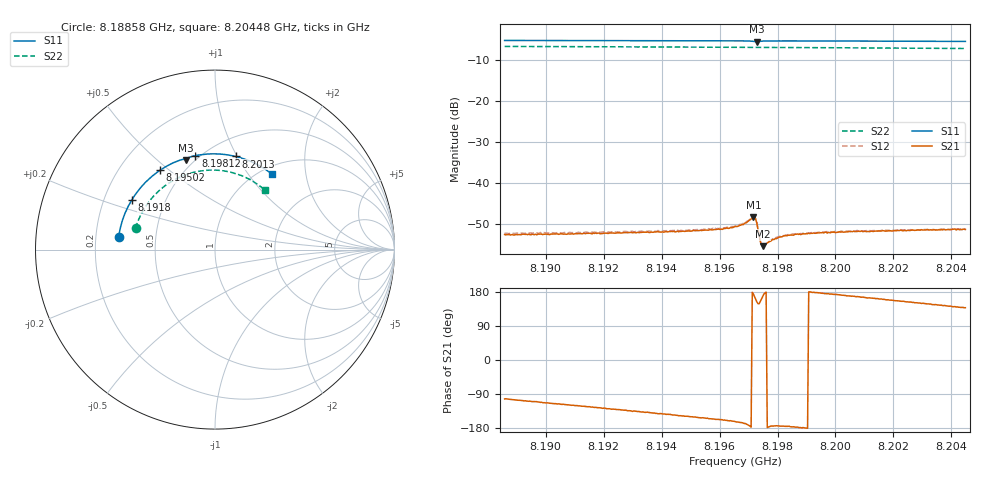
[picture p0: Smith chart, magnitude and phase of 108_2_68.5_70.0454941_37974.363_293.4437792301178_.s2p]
#  HZ  S  RI  R  50.00
! Rohde & Schwarz Vector Network Analyzer
! Rohde-Schwarz,ZNB20-2Port,1311601062101988,3.16
! Created: UTC 3/20/2024, 5:08:35 PM
! freq[Hz]  re:S11  im:S11  re:S21  im:S21  re:S12  im:S12  re:S22  im:S22
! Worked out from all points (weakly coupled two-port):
!   401 points, 8.18858 GHz to 8.20448 GHz, reference 50 ohm
!   highest |S21| = -48.30 dB at 8.19717 GHz (marker M1); lowest = -55.3 dB at 8.19749 GHz (marker M2)
!   lowest |S11| = -5.6 dB at 8.19729 GHz (marker M3), VSWR 3.19, Z = 22.7 + j31.1 ohm
!   |S11| at or under -10 dB: nowhere
!   |S22| runs from -7.3 to -6.8 dB; largest |S21 - S12| = 0.00021
!   S11 on the Smith chart (normalised r, x): 8.18858 GHz: 0.30, +0.06; 8.1918 GHz: 0.32, +0.25; 8.19502 GHz: 0.37, +0.46; 8.19812 GHz: 0.47, +0.70; 8.2013 GHz: 0.68, +0.99; 8.20448 GHz: 1.12, +1.31
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8.188584e9  -0.5372 0.0677  -0.000524 -0.00232  -0.000606 -0.00239  -0.4425 0.1183
8.191247e9  -0.4815 0.2449  -0.00129 -0.00206  -0.00139 -0.00211  -0.3791 0.2515
8.191803e9  -0.4624 0.2791  -0.00145 -0.002  -0.00158 -0.00202  -0.3605 0.2762
8.19391e9  -0.3684 0.3929  -0.00201 -0.00158  -0.00212 -0.00157  -0.2759 0.3576
8.195023e9  -0.3068 0.4416  -0.00226 -0.00131  -0.0024 -0.00128  -0.223 0.3905
8.196017e9  -0.2461 0.4772  -0.00253 -0.00105  -0.00267 -0.000975  -0.1724 0.414
8.196533e9  -0.212 0.4924  -0.00283 -0.000907  -0.00289 -0.000795  -0.1449 0.4234
8.196812e9  -0.1925 0.4992  -0.00305 -0.000744  -0.00319 -0.00061  -0.1299 0.4276
8.197169e9  -0.1642 0.5013  -0.00382 0.000423  -0.00387 0.000584  -0.1103 0.4323
8.197209e9  -0.1621 0.4998  -0.00372 0.000853  -0.00379 0.000986  -0.108 0.4327
8.197249e9  -0.1611 0.4981  -0.0034 0.00125  -0.00342 0.00145  -0.1058 0.4332
8.197289e9  -0.1617 0.4974  -0.0029 0.00147  -0.00287 0.00164  -0.1038 0.4336
8.197408e9  -0.1609 0.5038  -0.00176 0.000836  -0.00176 0.000949  -0.0973 0.435
8.197487e9  -0.1559 0.5084  -0.00167 0.000381  -0.00168 0.000434  -0.0929 0.4361
8.197567e9  -0.1502 0.5116  -0.00175 9.81e-05  -0.00176 0.000174  -0.0885 0.4367
8.197805e9  -0.1325 0.518  -0.00203 -0.00021  -0.00206 -0.000117  -0.0751 0.4389
8.198123e9  -0.1096 0.5235  -0.00222 -0.000208  -0.00226 -0.000124  -0.0572 0.4411
8.19868e9  -0.07 0.5299  -0.00242 -0.000131  -0.00244 -1.1e-05  -0.0258 0.4429
8.199197e9  -0.0334 0.5329  -0.00246 7.61e-05  -0.00251 0.000184  0.00361 0.443
8.201303e9  0.1147 0.519  -0.00247 0.000762  -0.0025 0.000895  0.1215 0.4217
8.20186e9  0.1525 0.5085  -0.00245 0.000989  -0.00244 0.00108  0.1514 0.4108
8.204483e9  0.3158 0.4219  -0.00204 0.00183  -0.00198 0.00193  0.279 0.3302
